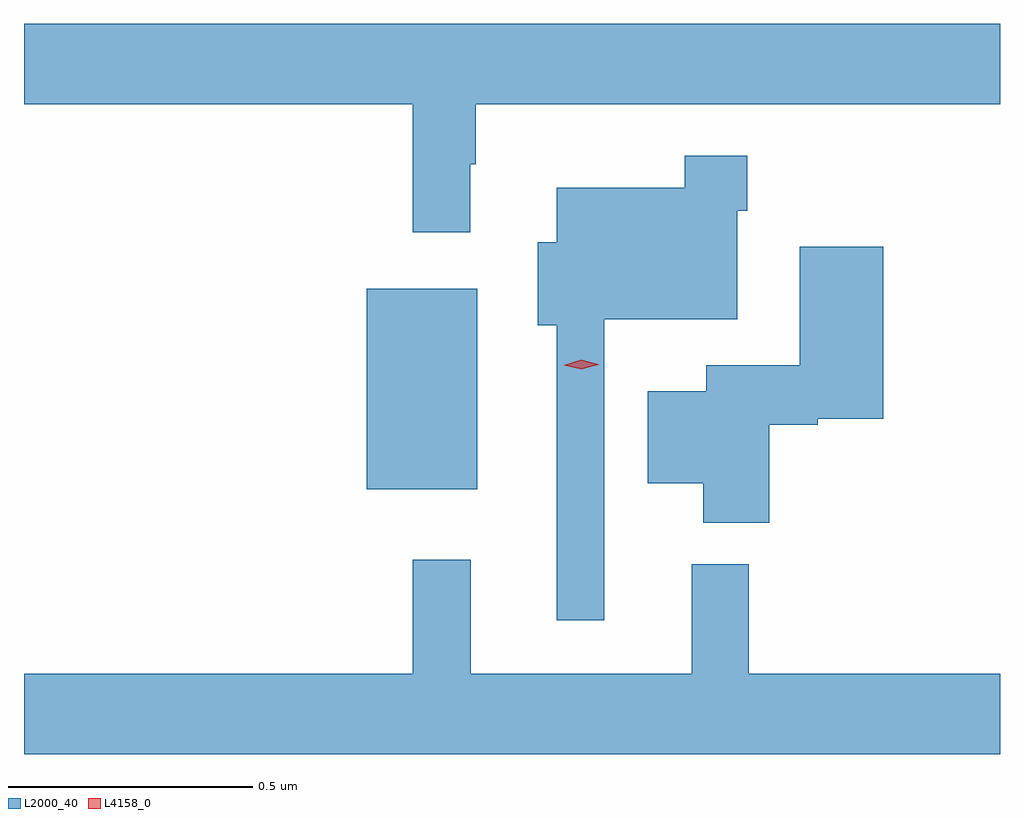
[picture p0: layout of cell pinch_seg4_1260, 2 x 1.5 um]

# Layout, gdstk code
import gdstk
lib = gdstk.Library(unit=1e-6, precision=1e-09)
def R(c, l, rs):  # rectangles x0, y0, x1, y1
    for r in rs: c.add(gdstk.rectangle(r[:2], r[2:], *l))
def P(c, l, *ps):  # polygons
    for p in ps: c.add(gdstk.Polygon(p, *l))
L2000_40 = (2000, 40)
L4158_0 = (4158, 0)

pinch_seg4_1260 = lib.new_cell('pinch_seg4_1260')
R(pinch_seg4_1260, L2000_40, [(206.636,812.015,206.863,812.425)])
P(pinch_seg4_1260, L2000_40, [(206.848,812.681),(206.86,812.681),(206.86,812.804),(207.934,812.804),(207.934,812.968),(205.934,812.968),(205.934,812.804),(206.731,812.804),(206.731,812.541),(206.848,812.541)],
  [(207.123,812.363),(207.396,812.363),(207.396,812.585),(207.416,812.585),(207.416,812.698),(207.288,812.698),(207.288,812.632),(207.026,812.632),(207.026,812.521),(206.987,812.521),(206.987,812.351),(207.026,812.351),(207.026,811.746),(207.123,811.746)],
  [(207.461,812.147),(207.561,812.147),(207.561,812.159),(207.695,812.159),(207.695,812.512),(207.524,812.512),(207.524,812.269),(207.332,812.269),(207.332,812.215),(207.212,812.215),(207.212,812.027),(207.326,812.027),(207.326,811.946),(207.461,811.946)],
  [(207.934,811.636),(207.419,811.636),(207.419,811.861),(207.302,811.861),(207.302,811.636),(206.849,811.636),(206.849,811.87),(206.731,811.87),(206.731,811.636),(205.934,811.636),(205.934,811.472),(207.934,811.472)])
P(pinch_seg4_1260, L4158_0, [(207.076,812.26),(207.04,812.269),(207.04,812.269),(207.04,812.269),(207.076,812.28),(207.111,812.271),(207.112,812.27),(207.111,812.27)])

lib.write_gds('pinch_seg4_1260.gds')
